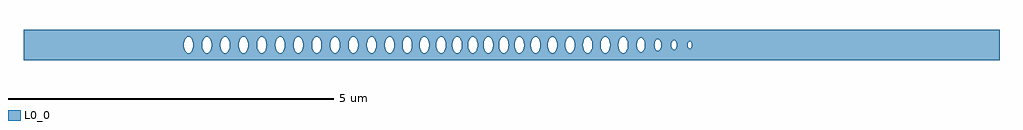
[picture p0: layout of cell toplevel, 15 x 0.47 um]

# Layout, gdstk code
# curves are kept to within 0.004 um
import gdstk
lib = gdstk.Library(unit=1e-6, precision=1e-09)
def P(c, l, *ps):  # polygons
    for p in ps: c.add(gdstk.Polygon(p, *l))
L0_0 = (0, 0)

toplevel = lib.new_cell('toplevel')
P(toplevel, L0_0, [(-4.427,-0.234),(-4.427,-0.119),(-4.457,-0.081),(-4.473,-0.016),(-4.471,0.032),(-4.462,0.068),(-4.447,0.098),(-4.427,0.119),(-4.427,0.234),(-7.5,0.234),(-7.5,-0.008),(-5.036,-0.008),(-5.033,0.039),(-5.013,0.093),(-4.99,0.119),(-4.964,0.128),(-4.937,0.119),(-4.914,0.093),(-4.896,0.047),(-4.891,0),(-4.755,0),(-4.75,0.047),(-4.732,0.093),(-4.709,0.119),(-4.682,0.128),(-4.656,0.119),(-4.636,0.098),(-4.621,0.068),(-4.61,0.016),(-4.613,-0.039),(-4.626,-0.081),(-4.647,-0.112),(-4.682,-0.128),(-4.709,-0.119),(-4.732,-0.093),(-4.75,-0.047),(-4.755,0),(-4.891,0),(-4.896,-0.047),(-4.914,-0.093),(-4.937,-0.119),(-4.964,-0.128),(-4.99,-0.119),(-5.01,-0.098),(-5.025,-0.068),(-5.036,-0.008),(-7.5,-0.008),(-7.5,-0.234)],
  [(-4.414,0.125),(-4.401,0.128),(-4.374,0.119),(-4.351,0.093),(-4.333,0.047),(-4.328,-0.008),(-4.192,-0.008),(-4.187,0.047),(-4.169,0.093),(-4.146,0.119),(-4.119,0.128),(-4.106,0.125),(-4.08,0.108),(-4.063,0.081),(-4.05,0.039),(-4.047,-0.016),(-4.058,-0.068),(-4.073,-0.098),(-4.093,-0.119),(-4.119,-0.128),(-4.146,-0.119),(-4.169,-0.093),(-4.187,-0.047),(-4.192,-0.008),(-4.328,-0.008),(-4.337,-0.061),(-4.362,-0.108),(-4.374,-0.119),(-4.401,-0.128),(-4.427,-0.119),(-4.427,-0.234),(-3.788,-0.234),(-3.788,-0.093),(-3.803,-0.112),(-3.824,-0.125),(-3.838,-0.128),(-3.864,-0.119),(-3.894,-0.081),(-3.91,-0.016),(-3.908,0.032),(-3.899,0.068),(-3.873,0.112),(-3.851,0.125),(-3.824,0.125),(-3.803,0.112),(-3.788,0.093),(-3.788,0.234),(-4.427,0.234),(-4.427,0.119)],
  [(-3.768,-0.032),(-3.788,-0.093),(-3.788,-0.234),(-3.052,-0.234),(-3.052,-0.075),(-3.066,-0.008),(-3.064,0.032),(-3.052,0.074),(-3.052,0.234),(-3.788,0.234),(-3.788,0.093),(-3.772,0.054),(-3.766,-0.008),(-3.629,-0.008),(-3.624,0.047),(-3.606,0.093),(-3.583,0.119),(-3.556,0.128),(-3.521,0.112),(-3.498,0.075),(-3.486,0.032),(-3.485,-0.016),(-3.347,-0.016),(-3.342,0.047),(-3.331,0.081),(-3.314,0.108),(-3.302,0.119),(-3.275,0.128),(-3.248,0.119),(-3.225,0.093),(-3.211,0.061),(-3.203,-0.018),(-3.211,-0.061),(-3.225,-0.093),(-3.24,-0.112),(-3.261,-0.125),(-3.288,-0.125),(-3.314,-0.108),(-3.336,-0.068),(-3.347,-0.016),(-3.485,-0.016),(-3.495,-0.068),(-3.51,-0.098),(-3.53,-0.119),(-3.556,-0.128),(-3.583,-0.119),(-3.603,-0.098),(-3.62,-0.061),(-3.629,-0.008),(-3.766,-0.008)],
  [(-2.502,0.016),(-2.489,0.075),(-2.457,0.119),(-2.431,0.128),(-2.417,0.125),(-2.384,0.098),(-2.384,0.234),(-3.052,0.234),(-3.052,0.075),(-3.02,0.119),(-2.993,0.128),(-2.967,0.119),(-2.947,0.098),(-2.932,0.068),(-2.922,0.024),(-2.922,-0.016),(-2.784,-0.016),(-2.782,0.032),(-2.771,0.075),(-2.747,0.112),(-2.712,0.128),(-2.685,0.119),(-2.662,0.093),(-2.646,0.054),(-2.64,0.016),(-2.642,-0.032),(-2.653,-0.075),(-2.677,-0.112),(-2.707,-0.127),(-2.739,-0.119),(-2.762,-0.093),(-2.778,-0.054),(-2.784,-0.016),(-2.922,-0.016),(-2.932,-0.068),(-2.947,-0.098),(-2.967,-0.119),(-2.993,-0.128),(-3.028,-0.112),(-3.052,-0.075),(-3.052,-0.234),(-2.384,-0.234),(-2.384,-0.098),(-2.404,-0.119),(-2.431,-0.128),(-2.465,-0.112),(-2.492,-0.068),(-2.502,-0.024)],
  [(-2.36,-0.032),(-2.384,-0.098),(-2.384,-0.234),(-1.611,-0.234),(-1.611,-0.126),(-1.629,-0.119),(-1.652,-0.093),(-1.674,-0.016),(-1.672,0.032),(-1.661,0.075),(-1.641,0.108),(-1.611,0.126),(-1.611,0.234),(-2.384,0.234),(-2.384,0.098),(-2.363,0.047),(-2.359,-0.016),(-2.222,-0.016),(-2.22,0.032),(-2.209,0.075),(-2.185,0.112),(-2.15,0.128),(-2.123,0.119),(-2.1,0.093),(-2.081,0.039),(-2.078,-0.016),(-1.945,-0.016),(-1.943,0.032),(-1.932,0.075),(-1.908,0.112),(-1.873,0.128),(-1.846,0.119),(-1.823,0.093),(-1.807,0.054),(-1.801,0.016),(-1.803,-0.032),(-1.814,-0.075),(-1.838,-0.112),(-1.873,-0.128),(-1.9,-0.119),(-1.923,-0.093),(-1.945,-0.016),(-2.078,-0.016),(-2.1,-0.093),(-2.123,-0.119),(-2.15,-0.128),(-2.177,-0.119),(-2.2,-0.093),(-2.216,-0.054),(-2.222,-0.016),(-2.359,-0.016)],
  [(-1.016,-0.047),(-1.025,-0.075),(-1.048,-0.112),(-1.07,-0.125),(-1.097,-0.125),(-1.122,-0.108),(-1.142,-0.075),(-1.151,-0.047),(-1.156,0.008),(-1.151,0.047),(-1.133,0.093),(-1.11,0.119),(-1.083,0.128),(-1.057,0.119),(-1.037,0.098),(-1.022,0.068),(-1.011,0.016),(-1.011,0.234),(-1.611,0.234),(-1.611,0.126),(-1.575,0.119),(-1.552,0.093),(-1.536,0.054),(-1.53,-0.008),(-1.411,-0.008),(-1.406,0.047),(-1.388,0.093),(-1.365,0.119),(-1.339,0.128),(-1.312,0.119),(-1.292,0.098),(-1.277,0.068),(-1.266,0.008),(-1.271,-0.047),(-1.289,-0.093),(-1.312,-0.119),(-1.339,-0.128),(-1.365,-0.119),(-1.385,-0.098),(-1.4,-0.068),(-1.411,-0.008),(-1.53,-0.008),(-1.536,-0.054),(-1.552,-0.093),(-1.575,-0.119),(-1.611,-0.126),(-1.611,-0.234),(-1.011,-0.234),(-1.011,-0.018)],
  [(-0.351,-0.234),(-0.351,-0.127),(-0.382,-0.119),(-0.402,-0.098),(-0.417,-0.068),(-0.428,-0.016),(-0.425,0.039),(-0.409,0.087),(-0.382,0.119),(-0.351,0.127),(-0.351,0.234),(-1.011,0.234),(-1.011,-0.008),(-0.908,-0.008),(-0.903,0.047),(-0.885,0.093),(-0.862,0.119),(-0.836,0.128),(-0.809,0.119),(-0.786,0.093),(-0.768,0.047),(-0.764,-0.016),(-0.666,-0.016),(-0.664,0.032),(-0.653,0.075),(-0.629,0.112),(-0.594,0.128),(-0.567,0.119),(-0.544,0.093),(-0.528,0.054),(-0.522,0.016),(-0.524,-0.032),(-0.535,-0.075),(-0.559,-0.112),(-0.594,-0.128),(-0.621,-0.119),(-0.644,-0.093),(-0.66,-0.054),(-0.666,-0.016),(-0.764,-0.016),(-0.774,-0.068),(-0.789,-0.098),(-0.809,-0.119),(-0.836,-0.128),(-0.862,-0.119),(-0.882,-0.098),(-0.897,-0.068),(-0.908,-0.008),(-1.011,-0.008),(-1.011,-0.234)],
  [(-0.351,0.234),(-0.351,0.127),(-0.321,0.112),(-0.297,0.075),(-0.287,0.039),(-0.284,-0.008),(-0.191,-0.008),(-0.186,0.047),(-0.168,0.093),(-0.145,0.119),(-0.119,0.128),(-0.092,0.119),(-0.072,0.098),(-0.057,0.068),(-0.046,0.008),(-0.051,-0.047),(-0.069,-0.093),(-0.092,-0.119),(-0.119,-0.128),(-0.145,-0.119),(-0.165,-0.098),(-0.18,-0.068),(-0.191,-0.008),(-0.284,-0.008),(-0.29,-0.054),(-0.306,-0.093),(-0.329,-0.119),(-0.351,-0.127),(-0.351,-0.234),(0.194,-0.234),(0.194,-0.011),(0.189,-0.047),(0.171,-0.093),(0.148,-0.119),(0.121,-0.128),(0.095,-0.119),(0.075,-0.098),(0.06,-0.068),(0.049,-0.016),(0.052,0.039),(0.063,0.075),(0.086,0.112),(0.121,0.128),(0.148,0.119),(0.171,0.093),(0.189,0.047),(0.194,0.008),(0.194,0.234)],
  [(0.877,-0.234),(0.877,-0.121),(0.86,-0.108),(0.84,-0.075),(0.827,-0.016),(0.829,0.032),(0.84,0.075),(0.86,0.108),(0.877,0.121),(0.877,0.234),(0.194,0.234),(0.194,0),(0.297,0),(0.302,0.047),(0.32,0.093),(0.343,0.119),(0.37,0.128),(0.396,0.119),(0.423,0.087),(0.439,0.039),(0.442,-0.016),(0.558,-0.016),(0.561,0.039),(0.574,0.081),(0.603,0.119),(0.63,0.128),(0.657,0.119),(0.68,0.093),(0.696,0.054),(0.703,0),(0.696,-0.054),(0.68,-0.093),(0.657,-0.119),(0.63,-0.128),(0.603,-0.119),(0.584,-0.098),(0.569,-0.068),(0.558,-0.016),(0.442,-0.016),(0.431,-0.068),(0.416,-0.098),(0.396,-0.119),(0.37,-0.128),(0.343,-0.119),(0.32,-0.093),(0.302,-0.047),(0.297,0),(0.194,0),(0.194,-0.234)],
  [(0.877,0.234),(0.877,0.121),(0.899,0.128),(0.913,0.125),(0.942,0.103),(0.965,0.054),(0.971,-0.008),(1.098,-0.008),(1.103,0.047),(1.121,0.093),(1.144,0.119),(1.171,0.128),(1.197,0.119),(1.217,0.098),(1.232,0.068),(1.243,0.008),(1.24,-0.039),(1.22,-0.093),(1.197,-0.119),(1.171,-0.128),(1.144,-0.119),(1.124,-0.098),(1.107,-0.061),(1.098,-0.008),(0.971,-0.008),(0.965,-0.054),(0.938,-0.108),(0.904,-0.127),(0.877,-0.121),(0.877,-0.234),(1.51,-0.234),(1.51,-0.047),(1.481,-0.108),(1.469,-0.119),(1.442,-0.128),(1.416,-0.119),(1.396,-0.098),(1.381,-0.068),(1.37,-0.016),(1.373,0.039),(1.386,0.081),(1.403,0.108),(1.424,0.123),(1.447,0.127),(1.477,0.112),(1.492,0.093),(1.51,0.047),(1.51,0.234)],
  [(2.198,0.011),(2.211,0.062),(2.211,0.234),(1.51,0.234),(1.515,-0.008),(1.644,-0.008),(1.649,0.047),(1.667,0.093),(1.69,0.119),(1.717,0.128),(1.743,0.119),(1.766,0.093),(1.784,0.047),(1.789,-0.007),(1.926,-0.007),(1.929,0.034),(1.943,0.075),(1.962,0.099),(1.989,0.11),(2.011,0.102),(2.031,0.08),(2.045,0.047),(2.051,0.007),(2.048,-0.034),(2.037,-0.07),(2.019,-0.096),(2,-0.108),(1.977,-0.108),(1.952,-0.089),(1.932,-0.047),(1.926,-0.007),(1.789,-0.007),(1.784,-0.047),(1.766,-0.093),(1.743,-0.119),(1.717,-0.128),(1.69,-0.119),(1.67,-0.098),(1.655,-0.068),(1.644,-0.008),(1.515,-0.008),(1.51,-0.047),(1.51,-0.234),(2.211,-0.234),(2.211,-0.063),(2.199,-0.023)],
  [(2.214,0.067),(2.239,0.09),(2.256,0.091),(2.271,0.083),(2.285,0.067),(2.298,0.034),(2.3,-0.014),(2.457,-0.014),(2.457,0.014),(2.466,0.047),(2.478,0.065),(2.496,0.074),(2.519,0.065),(2.531,0.047),(2.54,-0.01),(2.709,-0.01),(2.716,0.036),(2.738,0.056),(2.752,0.052),(2.764,0.038),(2.772,-0.01),(2.761,-0.043),(2.742,-0.056),(2.72,-0.043),(2.709,-0.01),(2.54,-0.01),(2.527,-0.054),(2.501,-0.074),(2.474,-0.06),(2.457,-0.014),(2.3,-0.014),(2.285,-0.067),(2.262,-0.089),(2.236,-0.089),(2.211,-0.063),(2.211,-0.234),(7.5,-0.234),(7.5,0.234),(2.211,0.234)])

lib.write_gds('toplevel.gds')
